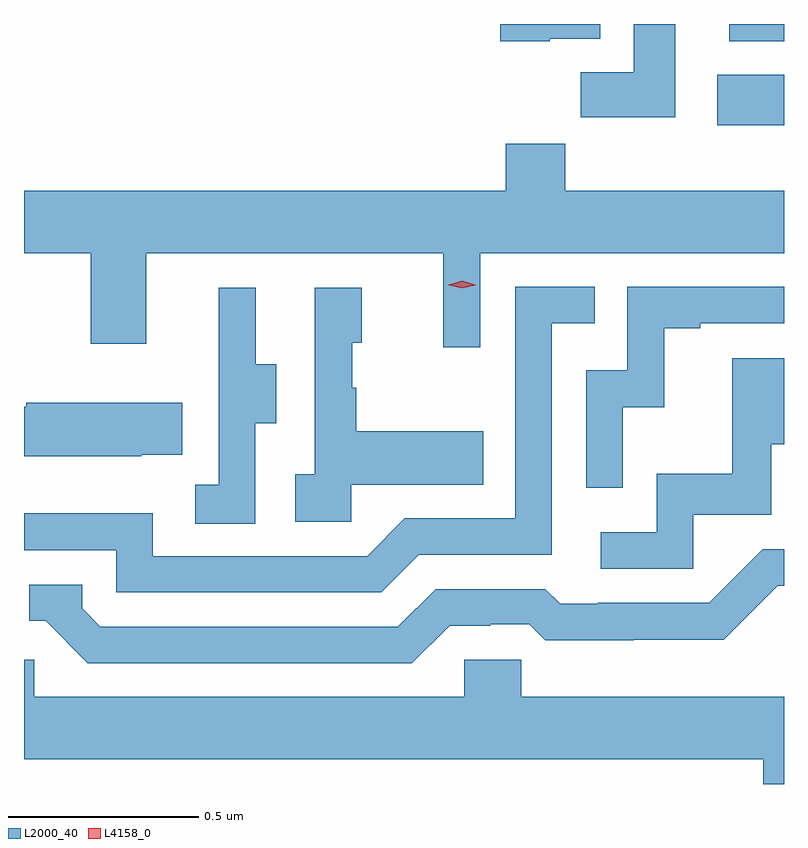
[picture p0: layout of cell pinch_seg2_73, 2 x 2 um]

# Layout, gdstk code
import gdstk
lib = gdstk.Library(unit=1e-6, precision=1e-09)
def R(c, l, rs):  # rectangles x0, y0, x1, y1
    for r in rs: c.add(gdstk.rectangle(r[:2], r[2:], *l))
def P(c, l, *ps):  # polygons
    for p in ps: c.add(gdstk.Polygon(p, *l))
L2000_40 = (2000, 40)
L4158_0 = (4158, 0)

pinch_seg2_73 = lib.new_cell('pinch_seg2_73')
R(pinch_seg2_73, L2000_40, [(1023.951,651.968,1024.127,652.102), (1023.983,652.19,1024.127,652.235)])
P(pinch_seg2_73, L2000_40, [(1023.51,652.196),(1023.643,652.196),(1023.643,652.235),(1023.38,652.235),(1023.38,652.19),(1023.51,652.19)],
  [(1023.841,652.235),(1023.731,652.235),(1023.731,652.108),(1023.592,652.108),(1023.592,651.99),(1023.841,651.99)],
  [(1023.327,651.632),(1024.127,651.632),(1024.127,651.796),(1023.551,651.796),(1023.551,651.92),(1023.395,651.92),(1023.395,651.796),(1022.127,651.796),(1022.127,651.632),(1022.302,651.632),(1022.302,651.393),(1022.449,651.393),(1022.449,651.632),(1023.23,651.632),(1023.23,651.384),(1023.327,651.384)],
  [(1023.166,650.838),(1023.516,650.838),(1023.516,651.447),(1023.629,651.447),(1023.629,651.543),(1023.42,651.543),(1023.42,650.934),(1023.129,650.934),(1023.03,650.835),(1022.466,650.835),(1022.466,650.947),(1022.127,650.947),(1022.127,650.85),(1022.37,650.85),(1022.37,650.739),(1023.067,650.739)],
  [(1023.702,651.227),(1023.812,651.227),(1023.812,651.435),(1023.907,651.435),(1023.907,651.447),(1024.127,651.447),(1024.127,651.543),(1023.714,651.543),(1023.714,651.324),(1023.606,651.324),(1023.606,651.015),(1023.702,651.015)],
  [(1022.736,651.184),(1022.791,651.184),(1022.791,651.339),(1022.737,651.339),(1022.737,651.541),(1022.639,651.541),(1022.639,651.327),(1022.64,651.327),(1022.64,651.023),(1022.577,651.023),(1022.577,650.92),(1022.736,650.92)],
  [(1022.988,651.023),(1023.335,651.023),(1023.335,651.163),(1023.001,651.163),(1023.001,651.278),(1022.991,651.278),(1022.991,651.396),(1023.016,651.396),(1023.016,651.541),(1022.892,651.541),(1022.892,651.05),(1022.841,651.05),(1022.841,650.925),(1022.988,650.925)],
  [(1023.888,650.943),(1024.093,650.943),(1024.093,651.129),(1024.127,651.129),(1024.127,651.355),(1023.991,651.355),(1023.991,651.052),(1023.792,651.052),(1023.792,650.898),(1023.645,650.898),(1023.645,650.802),(1023.888,650.802)],
  [(1022.435,651.101),(1022.543,651.101),(1022.543,651.238),(1022.133,651.238),(1022.133,651.228),(1022.127,651.228),(1022.127,651.098),(1022.435,651.098)],
  [(1023.247,650.652),(1023.354,650.652),(1023.354,650.655),(1023.457,650.655),(1023.499,650.613),(1023.732,650.613),(1023.732,650.615),(1023.968,650.615),(1024.11,650.757),(1024.127,650.757),(1024.127,650.853),(1024.071,650.853),(1023.93,650.712),(1023.637,650.712),(1023.637,650.709),(1023.538,650.709),(1023.499,650.748),(1023.21,650.748),(1023.111,650.649),(1022.328,650.649),(1022.28,650.697),(1022.28,650.76),(1022.141,650.76),(1022.141,650.664),(1022.184,650.664),(1022.295,650.553),(1023.148,650.553)],
  [(1024.127,650.464),(1023.435,650.464),(1023.435,650.562),(1023.285,650.562),(1023.285,650.464),(1022.154,650.464),(1022.154,650.562),(1022.127,650.562),(1022.127,650.3),(1024.073,650.3),(1024.073,650.235),(1024.127,650.235)])
P(pinch_seg2_73, L4158_0, [(1023.28,651.539),(1023.245,651.548),(1023.244,651.549),(1023.245,651.549),(1023.28,651.559),(1023.315,651.549),(1023.316,651.549),(1023.315,651.548)])

lib.write_gds('pinch_seg2_73.gds')
